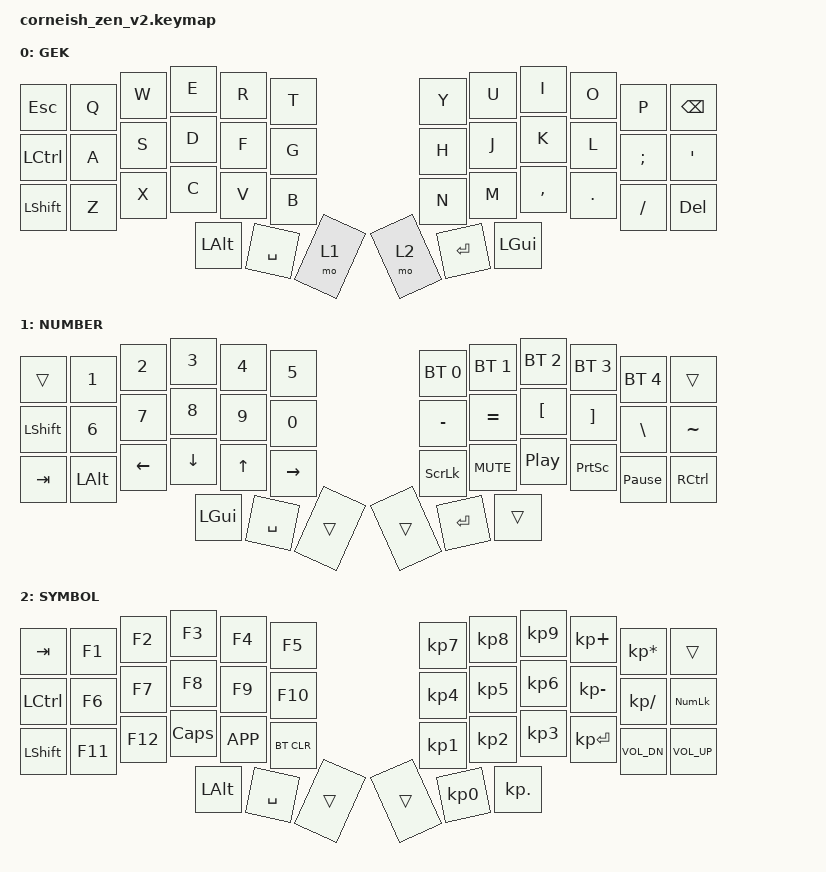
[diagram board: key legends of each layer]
/*
*
* Copyright (c) 2021 Darryl deHaan
* SPDX-License-Identifier: MIT
*
*/

#include <behaviors.dtsi>
#include <dt-bindings/zmk/bt.h>
#include <dt-bindings/zmk/keys.h>

/ {
    chosen {
        zmk,matrix_transform = &six_column_transform;
    };
};

/ {
    keymap {
        compatible = "zmk,keymap";

        default_layer {
            display-name = "GEK";

            bindings = <
&kp ESC    &kp Q  &kp W  &kp E         &kp R      &kp T    &kp Y  &kp U      &kp I      &kp O    &kp P     &kp BSPC
&kp LCTRL  &kp A  &kp S  &kp D         &kp F      &kp G    &kp H  &kp J      &kp K      &kp L    &kp SEMI  &kp SQT
&kp LSHFT  &kp Z  &kp X  &kp C         &kp V      &kp B    &kp N  &kp M      &kp COMMA  &kp DOT  &kp FSLH  &kp DEL
                         &kp LEFT_ALT  &kp SPACE  &mo 1    &mo 2  &kp ENTER  &kp LGUI
            >;
        };

        lower_layer {
            display-name = "NUMBER";

            bindings = <
&trans     &kp N1     &kp N2    &kp N3   &kp N4  &kp N5             &bt BT_SEL 0  &bt BT_SEL 1   &bt BT_SEL 2      &bt BT_SEL 3       &bt BT_SEL 4      &trans
&kp LSHFT  &kp N6     &kp N7    &kp N8   &kp N9  &kp N0             &kp MINUS     &kp EQUAL      &kp LEFT_BRACKET  &kp RIGHT_BRACKET  &kp BACKSLASH     &kp TILDE
&kp TAB    &kp LALT   &kp LEFT  &kp DOWN &kp UP  &kp RIGHT          &kp SLCK      &kp C_MUTE     &kp C_PP          &kp PSCRN          &kp PAUSE_BREAK   &kp RCTRL
                         &kp LGUI  &kp SPACE     &trans             &trans        &kp ENTER      &trans
            >;
        };

        raise_layer {
            display-name = "SYMBOL";

            bindings = <
&kp TAB    &kp F1   &kp F2   &kp F3    &kp F4     &kp F5        &kp KP_N7  &kp KP_N8  &kp KP_N9   &kp KP_PLUS   &kp KP_MULTIPLY  &trans
&kp LCTRL  &kp F6   &kp F7   &kp F8    &kp F9     &kp F10       &kp KP_N4  &kp KP_N5  &kp KP_N6   &kp KP_MINUS  &kp KP_DIVIDE    &kp KP_NLCK
&kp LSHFT  &kp F11  &kp F12  &kp CAPS  &kp K_APP  &bt BT_CLR    &kp KP_N1  &kp KP_N2  &kp KP_N3   &kp KP_ENTER  &kp C_VOL_DN     &kp C_VOL_UP
                             &kp LALT  &kp SPACE  &trans        &trans     &kp KP_N0  &kp KP_DOT
            >;
        };
    };
};
